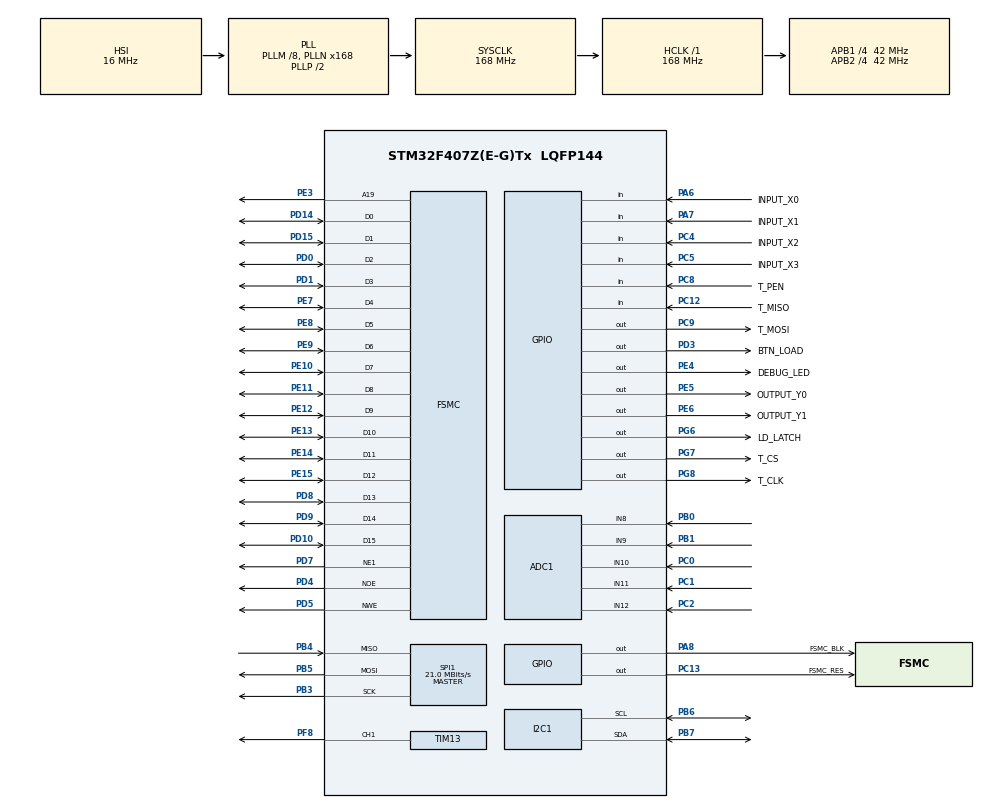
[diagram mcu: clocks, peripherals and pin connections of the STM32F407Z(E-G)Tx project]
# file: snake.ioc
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ADC1.Channel-0\#ChannelRegularConversion=ADC_CHANNEL_8
ADC1.Channel-1\#ChannelRegularConversion=ADC_CHANNEL_9
ADC1.Channel-2\#ChannelRegularConversion=ADC_CHANNEL_10
ADC1.Channel-3\#ChannelRegularConversion=ADC_CHANNEL_11
ADC1.Channel-4\#ChannelRegularConversion=ADC_CHANNEL_12
ADC1.NbrOfConversion=5
ADC1.NbrOfConversionFlag=1
ADC1.Rank-0\#ChannelRegularConversion=1
ADC1.Rank-1\#ChannelRegularConversion=2
ADC1.Rank-2\#ChannelRegularConversion=3
ADC1.Rank-3\#ChannelRegularConversion=4
ADC1.Rank-4\#ChannelRegularConversion=5
ADC1.SamplingTime-0\#ChannelRegularConversion=ADC_SAMPLETIME_3CYCLES
ADC1.SamplingTime-1\#ChannelRegularConversion=ADC_SAMPLETIME_3CYCLES
ADC1.SamplingTime-2\#ChannelRegularConversion=ADC_SAMPLETIME_3CYCLES
ADC1.SamplingTime-3\#ChannelRegularConversion=ADC_SAMPLETIME_3CYCLES
ADC1.SamplingTime-4\#ChannelRegularConversion=ADC_SAMPLETIME_3CYCLES
ADC1.ScanConvMode=ENABLE
ADC1.master=1
Dma.ADC1.0.Direction=DMA_PERIPH_TO_MEMORY
Dma.ADC1.0.FIFOMode=DMA_FIFOMODE_DISABLE
Dma.ADC1.0.Instance=DMA2_Stream0
Dma.ADC1.0.MemDataAlignment=DMA_MDATAALIGN_HALFWORD
Dma.ADC1.0.MemInc=DMA_MINC_ENABLE
Dma.ADC1.0.Mode=DMA_CIRCULAR
Dma.ADC1.0.PeriphDataAlignment=DMA_PDATAALIGN_HALFWORD
Dma.ADC1.0.PeriphInc=DMA_PINC_DISABLE
Dma.ADC1.0.Priority=DMA_PRIORITY_LOW
Dma.Request0=ADC1
FSMC.AddressSetupTime1=0xf
FSMC.BusTurnAroundDuration1=0
FSMC.DataSetupTime1=60
FSMC.ExtendedAddressSetupTime1=8
FSMC.ExtendedBusTurnAroundDuration1=0
FSMC.ExtendedDataSetupTime1=9
FSMC.ExtendedMode1=FSMC_EXTENDED_MODE_ENABLE
I2C1.I2C_Mode=I2C_Standard
Mcu.Family=STM32F4
Mcu.Name=STM32F407Z(E-G)Tx
Mcu.Package=LQFP144
NVIC.DMA2_Stream0_IRQn=true\:0\:0\:false\:false\:true\:false\:true\:true
NVIC.PriorityGroup=NVIC_PRIORITYGROUP_4
NVIC.TIM2_IRQn=true\:0\:0\:false\:false\:true\:true\:true\:true
PA13.Mode=Serial_Wire
PA13.Signal=SYS_JTMS-SWDIO
PA14.Mode=Serial_Wire
PA14.Signal=SYS_JTCK-SWCLK
PA6.GPIO_Label=INPUT_X0
PA6.Signal=GPIO_Input
PA7.GPIO_Label=INPUT_X1
PA7.Signal=GPIO_Input
PA8.GPIO_Label=FSMC_BLK
PA8.Signal=GPIO_Output
PB0.Signal=ADCx_IN8
PB1.Signal=ADCx_IN9
PB3.Mode=Full_Duplex_Master
PB3.Signal=SPI1_SCK
PB4.Mode=Full_Duplex_Master
PB4.Signal=SPI1_MISO
PB5.Mode=Full_Duplex_Master
PB5.Signal=SPI1_MOSI
PB6.Mode=I2C
PB6.Signal=I2C1_SCL
PB7.Mode=I2C
PB7.Signal=I2C1_SDA
PC0.Signal=ADCx_IN10
PC1.Signal=ADCx_IN11
PC12.GPIO_Label=T_MISO
PC12.GPIO_PuPd=GPIO_PULLUP
PC12.Signal=GPIO_Input
PC13-ANTI_TAMP.GPIO_Label=FSMC_RES
PC13-ANTI_TAMP.Signal=GPIO_Output
PC2.Signal=ADCx_IN12
PC4.GPIO_Label=INPUT_X2
PC4.Signal=GPIO_Input
PC5.GPIO_Label=INPUT_X3
PC5.Signal=GPIO_Input
PC8.GPIO_Label=T_PEN
PC8.GPIO_PuPd=GPIO_PULLUP
PC8.Signal=GPIO_Input
PC9.GPIO_Label=T_MOSI
PC9.Signal=GPIO_Output
PD0.Signal=FSMC_D2_DA2
PD1.Signal=FSMC_D3_DA3
PD10.Signal=FSMC_D15_DA15
PD14.Signal=FSMC_D0_DA0
PD15.Signal=FSMC_D1_DA1
PD3.GPIO_Label=BTN_LOAD
PD3.Signal=GPIO_Output
PD4.Signal=FSMC_NOE
PD5.Signal=FSMC_NWE
PD7.Mode=NorPsramChipSelect1_1
PD7.Signal=FSMC_NE1
PD8.Signal=FSMC_D13_DA13
PD9.Signal=FSMC_D14_DA14
PE10.Signal=FSMC_D7_DA7
PE11.Signal=FSMC_D8_DA8
PE12.Signal=FSMC_D9_DA9
PE13.Signal=FSMC_D10_DA10
PE14.Signal=FSMC_D11_DA11
PE15.Signal=FSMC_D12_DA12
PE3.Signal=FSMC_A19
PE4.GPIO_Label=DEBUG_LED
PE4.Signal=GPIO_Output
PE5.GPIO_Label=OUTPUT_Y0
PE5.Signal=GPIO_Output
PE6.GPIO_Label=OUTPUT_Y1
PE6.Signal=GPIO_Output
PE7.Signal=FSMC_D4_DA4
PE8.Signal=FSMC_D5_DA5
PE9.Signal=FSMC_D6_DA6
PF8.Signal=S_TIM13_CH1
PG6.GPIO_Label=LD_LATCH
PG6.Signal=GPIO_Output
PG7.GPIO_Label=T_CS
PG7.Signal=GPIO_Output
PG8.GPIO_Label=T_CLK
PG8.Signal=GPIO_Output
PH0-OSC_IN.Mode=HSE-External-Oscillator
PH0-OSC_IN.Signal=RCC_OSC_IN
PH1-OSC_OUT.Mode=HSE-External-Oscillator
PH1-OSC_OUT.Signal=RCC_OSC_OUT
ProjectManager.HeapSize=0x200
ProjectManager.StackSize=0x400
ProjectManager.TargetToolchain=STM32CubeIDE
RCC.48MHZClocksFreq_Value=84000000
RCC.AHBFreq_Value=168000000
RCC.APB1CLKDivider=RCC_HCLK_DIV4
RCC.APB1Freq_Value=42000000
RCC.APB1TimFreq_Value=84000000
RCC.APB2CLKDivider=RCC_HCLK_DIV4
RCC.APB2Freq_Value=42000000
RCC.APB2TimFreq_Value=84000000
RCC.CortexFreq_Value=168000000
RCC.HCLKFreq_Value=168000000
RCC.HSE_VALUE=8000000
RCC.HSI_VALUE=16000000
RCC.LSE_VALUE=32768
RCC.PLLM=8
RCC.PLLN=168
RCC.SYSCLKFreq_VALUE=168000000
RCC.SYSCLKSource=RCC_SYSCLKSOURCE_PLLCLK
RCC.VCOOutputFreq_Value=336000000
SH.ADCx_IN10.0=ADC1_IN10,IN10
SH.ADCx_IN11.0=ADC1_IN11,IN11
SH.ADCx_IN12.0=ADC1_IN12,IN12
SH.ADCx_IN8.0=ADC1_IN8,IN8
SH.ADCx_IN9.0=ADC1_IN9,IN9
SH.FSMC_A19.0=FSMC_A19,A19_1
SH.FSMC_D0_DA0.0=FSMC_D0,16b-d1
SH.FSMC_D10_DA10.0=FSMC_D10,16b-d1
SH.FSMC_D11_DA11.0=FSMC_D11,16b-d1
SH.FSMC_D12_DA12.0=FSMC_D12,16b-d1
SH.FSMC_D13_DA13.0=FSMC_D13,16b-d1
SH.FSMC_D14_DA14.0=FSMC_D14,16b-d1
SH.FSMC_D15_DA15.0=FSMC_D15,16b-d1
SH.FSMC_D1_DA1.0=FSMC_D1,16b-d1
SH.FSMC_D2_DA2.0=FSMC_D2,16b-d1
SH.FSMC_D3_DA3.0=FSMC_D3,16b-d1
SH.FSMC_D4_DA4.0=FSMC_D4,16b-d1
SH.FSMC_D5_DA5.0=FSMC_D5,16b-d1
SH.FSMC_D6_DA6.0=FSMC_D6,16b-d1
SH.FSMC_D7_DA7.0=FSMC_D7,16b-d1
SH.FSMC_D8_DA8.0=FSMC_D8,16b-d1
SH.FSMC_D9_DA9.0=FSMC_D9,16b-d1
SH.FSMC_NOE.0=FSMC_NOE,Lcd1
SH.FSMC_NWE.0=FSMC_NWE,Lcd1
SH.S_TIM13_CH1.0=TIM13_CH1,PWM Generation1 CH1
SPI1.BaudRatePrescaler=SPI_BAUDRATEPRESCALER_2
SPI1.CalculateBaudRate=21.0 MBits/s
SPI1.Direction=SPI_DIRECTION_2LINES
SPI1.Mode=SPI_MODE_MASTER
SPI1.VirtualType=VM_MASTER
TIM1.Prescaler=84-1
TIM13.Channel=TIM_CHANNEL_1
TIM13.Period=100-1
TIM13.Prescaler=840-1
TIM2.Period=100-1
TIM2.Prescaler=840-1
VP_TIM13_VS_ClockSourceINT.Mode=Enable_Timer
VP_TIM1_VS_ClockSourceINT.Mode=Internal
VP_TIM2_VS_ClockSourceINT.Mode=Internal
board=custom

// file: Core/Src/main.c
/* USER CODE BEGIN Header */
/**
  ******************************************************************************
  * @file           : main.c
  * @brief          : Main program body
  ******************************************************************************
  * @attention
  *
  * Copyright (c) 2025 STMicroelectronics.
  * All rights reserved.
  *
  * This software is licensed under terms that can be found in the LICENSE file
  * in the root directory of this software component.
  * If no LICENSE file comes with this software, it is provided AS-IS.
  *
  ******************************************************************************
  */
/* USER CODE END Header */
#include "main.h"
#include "adc.h"
#include "dma.h"
#include "i2c.h"
#include "spi.h"
#include "tim.h"
#include "gpio.h"
#include "fsmc.h"

/* USER CODE BEGIN Includes */
#include "software_timer.h"
#include "led_7seg.h"
#include "button.h"
#include "lcd.h"
#include "picture.h"
#include "ds3231.h"
#include "sensor.h"
#include "buzzer.h"
#include "touch.h"
#include "game_display.h"
#include "game_control.h"
#include "led7seg_app.h"
#include "at24c.h"
/* USER CODE END Includes */

/* USER CODE BEGIN PV */
#define INIT 0
#define DRAW 1
#define CLEAR 2

int draw_Status = INIT;
extern GameState currentState;
/* USER CODE END PV */

void SystemClock_Config(void);
/* USER CODE BEGIN PFP */
void system_init();
void test_LedDebug();
void touchProcess();
uint8_t isButtonClear();
/* USER CODE END PFP */

int main(void)
{

  /* MCU Configuration--------------------------------------------------------*/

  /* Reset of all peripherals, Initializes the Flash interface and the Systick. */
  HAL_Init();

  /* Configure the system clock */
  SystemClock_Config();

  /* Initialize all configured peripherals */
  MX_GPIO_Init();
  MX_DMA_Init();
  MX_TIM2_Init();
  MX_SPI1_Init();
  MX_FSMC_Init();
  MX_I2C1_Init();
  MX_TIM13_Init();
  MX_ADC1_Init();
  MX_TIM1_Init();
  /* USER CODE BEGIN 2 */
  system_init();
  /* USER CODE END 2 */

  /* Infinite loop */
  /* USER CODE BEGIN WHILE */
//  Example
//  touch_Adjust();
//  lcd_Clear(BLACK);

//  SNAKE
  //lcd_Clear(WHITE);
  extern uint16_t TP_Read_AD(uint8_t CMD);
  extern uint8_t CMD_RDX;
  extern uint8_t CMD_RDY;
  //lcd_Fill(0,0,240,320,BLACK);
  //touch_Adjust();
  while (1)
  {
//	  //scan touch screen
//	  touch_Scan();
//	  //check if touch screen is touched
//	  if(touch_IsTouched() && draw_Status == DRAW){
//		 //draw a point at the touch position
//		  lcd_DrawPoint(touch_GetX(), touch_GetY(), RED);
//	  }
//	  // 50ms task
//	  if(flag_timer2 == 1){
//		  flag_timer2 = 0;
//		  touchProcess();
//		  test_LedDebug();
//	  }

//	 SNAKE
	  // button
	  //touch_Scan();
//	  touch_Scan();  // BẮT BUỘC
//
//	     if (HAL_GPIO_ReadPin(T_PEN_GPIO_Port, T_PEN_Pin) == 0) {  // kiểm tra trực tiếp
//	         uint16_t x = touch_GetX();
//	         uint16_t y = touch_GetY();
//
//	         // test giá trị thật
//	         lcd_ShowIntNum(10, 10, x, 4, WHITE, BLACK, 16);
//	         lcd_ShowIntNum(10, 30, y, 4, WHITE, BLACK, 16);
//
//	         lcd_DrawPoint(x, y, RED);
//	     }
//
//	     HAL_Delay(100);
	  touch_Scan();
	  button_Scan();
	  //scan touch screen

	  if (flag_timer2 == 1) {
		  gameFSM();
	  }

    /* USER CODE END WHILE */

  }
}

void SystemClock_Config(void)
{
  RCC_OscInitTypeDef RCC_OscInitStruct = {0};
  RCC_ClkInitTypeDef RCC_ClkInitStruct = {0};

  /** Configure the main internal regulator output voltage
  */
  __HAL_RCC_PWR_CLK_ENABLE();
  __HAL_PWR_VOLTAGESCALING_CONFIG(PWR_REGULATOR_VOLTAGE_SCALE1);

  /** Initializes the RCC Oscillators according to the specified parameters
  * in the RCC_OscInitTypeDef structure.
  */
  RCC_OscInitStruct.OscillatorType = RCC_OSCILLATORTYPE_HSI;
  RCC_OscInitStruct.HSIState = RCC_HSI_ON;
  RCC_OscInitStruct.HSICalibrationValue = RCC_HSICALIBRATION_DEFAULT;
  RCC_OscInitStruct.PLL.PLLState = RCC_PLL_ON;
  RCC_OscInitStruct.PLL.PLLSource = RCC_PLLSOURCE_HSI;
  RCC_OscInitStruct.PLL.PLLM = 8;
  RCC_OscInitStruct.PLL.PLLN = 168;
  RCC_OscInitStruct.PLL.PLLP = RCC_PLLP_DIV2;
  RCC_OscInitStruct.PLL.PLLQ = 4;
  if (HAL_RCC_OscConfig(&RCC_OscInitStruct) != HAL_OK)
  {
    Error_Handler();
  }

  /** Initializes the CPU, AHB and APB buses clocks
  */
  RCC_ClkInitStruct.ClockType = RCC_CLOCKTYPE_HCLK|RCC_CLOCKTYPE_SYSCLK
                              |RCC_CLOCKTYPE_PCLK1|RCC_CLOCKTYPE_PCLK2;
  RCC_ClkInitStruct.SYSCLKSource = RCC_SYSCLKSOURCE_PLLCLK;
  RCC_ClkInitStruct.AHBCLKDivider = RCC_SYSCLK_DIV1;
  RCC_ClkInitStruct.APB1CLKDivider = RCC_HCLK_DIV4;
  RCC_ClkInitStruct.APB2CLKDivider = RCC_HCLK_DIV4;

  if (HAL_RCC_ClockConfig(&RCC_ClkInitStruct, FLASH_LATENCY_5) != HAL_OK)
  {
    Error_Handler();
  }
}

/* USER CODE BEGIN 4 */
void system_init(){
	  timer_init();
	  button_init();
	  lcd_init();
	  touch_init();

	  uint8_t h1 = at24c_ReadOneByte(0x0013);
	  uint8_t h2 = at24c_ReadOneByte(0x0014);
	  highscore = (h1 << 8) | h2;
	  buzzer_init();
	  /* ========= LOAD GAME STATE TỪ EEPROM ========= */
	  uint8_t saved = at24c_ReadOneByte(0x0000);

	  switch (saved)
	  {
	      case GAME_START:
	          currentState = GAME_START;
	          displayStartScreen();
	          break;

	      case GAME_MAP_SELECT:
	          currentState = GAME_MAP_SELECT;
	          displayMapSelectScreen();
	          break;

	      case GAME_PLAY:
	      	          currentState = GAME_PAUSE;  // Pause để an toàn, bấm pause chạy tiếp

	      	          loadGameState();            // Load score, highscore, map (grid), snake

	      	          lcd_Fill(0, 0, 240, 320, BLACK);  // Xóa màn hình

	      	          initializeButtons();        // Vẽ nút Home, Pause, Score box

	      	          redrawGameFromState();      // Vẽ rắn + bomb + tường/map từ grid đã load

	      	          drawPlayfieldFrame();       // Vẽ viền trắng

	      	          refreshUIAfterLoad();       // Hiện score đúng (không 829)

	      	          break;
	      case GAME_OVER:
	          currentState = GAME_OVER;
	          displayGameOverScreen();
	          break;

	      default:
	          currentState = GAME_START;
	          displayStartScreen();
	          break;
	  }
	  /* ============================================= */
	  if (saved == GAME_PLAY) {
	  generateFruit();
	  generateBomb();
	  }
	  setTimer2(50);
	  //lcd_Clear(WHITE);

}

uint8_t count_led_debug = 0;

void test_LedDebug(){
	count_led_debug = (count_led_debug + 1)%20;
	if(count_led_debug == 0){
		HAL_GPIO_TogglePin(DEBUG_LED_GPIO_Port, DEBUG_LED_Pin);
	}
}

uint8_t isButtonClear(){
	if(!touch_IsTouched()) return 0;
	return touch_GetX() > 60 && touch_GetX() < 180 && touch_GetY() > 10 && touch_GetY() < 60;
}

void touchProcess(){
	switch (draw_Status) {
		case INIT:
			// display blue button
			lcd_Fill(60, 10, 180, 60, GBLUE);
			lcd_ShowStr(90, 20, "CLEAR", RED, BLACK, 24, 1);
			draw_Status = DRAW;
			break;
		case DRAW:
			if(isButtonClear()){
				draw_Status = CLEAR;
				// clear board
				lcd_Fill(0, 60, 240, 320, BLACK);
				// display green button
				lcd_Fill(60, 10, 180, 60, GREEN);
				lcd_ShowStr(90, 20, "CLEAR", RED, BLACK, 24, 1);
			}
			break;
		case CLEAR:
			if(!touch_IsTouched()) draw_Status = INIT;
			break;
		default:
			break;
	}
}
/* USER CODE END 4 */

void Error_Handler(void)
{
  __disable_irq();
  while (1)
  {
  }
}
